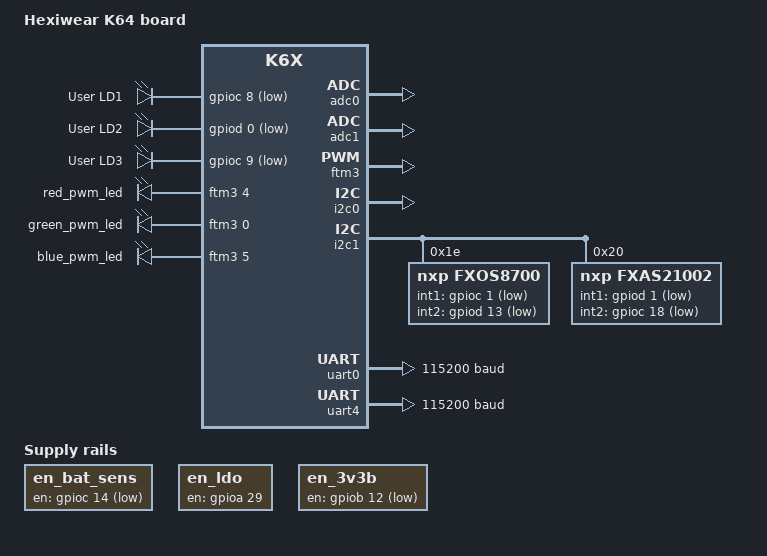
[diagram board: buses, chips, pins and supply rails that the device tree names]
/* SPDX-License-Identifier: Apache-2.0 */

/dts-v1/;

#include <nxp/nxp_k6x.dtsi>
#include <zephyr/dt-bindings/pwm/pwm.h>
#include "hexiwear_mk64f12-pinctrl.dtsi"

/ {
	model = "Hexiwear K64 board";
	compatible = "nxp,hexiwear", "nxp,k64f", "nxp,k6x";

	aliases {
		led0 = &green_led;
		led1 = &blue_led;
		led2 = &red_led;
		pwm-led0 = &green_pwm_led;
		red-pwm-led = &red_pwm_led;
		green-pwm-led = &green_pwm_led;
		blue-pwm-led = &blue_pwm_led;
		magn0 = &fxos8700;
		accel0 = &fxos8700;
	};

	chosen {
		zephyr,sram = &sram0;
		zephyr,flash = &flash0;
		zephyr,code-partition = &slot0_partition;
		zephyr,console = &uart0;
		zephyr,shell-uart = &uart0;
		zephyr,bt-hci = &bt_hci_uart;
	};

	leds {
		compatible = "gpio-leds";
		red_led: led_0 {
			gpios = <&gpioc 8 GPIO_ACTIVE_LOW>;
			label = "User LD1";
		};
		green_led: led_1 {
			gpios = <&gpiod 0 GPIO_ACTIVE_LOW>;
			label = "User LD2";
		};
		blue_led: led_2 {
			gpios = <&gpioc 9 GPIO_ACTIVE_LOW>;
			label = "User LD3";
		};
	};

	pwmleds {
		compatible = "pwm-leds";

		red_pwm_led: red_pwm_led {
			pwms = <&ftm3 4 15625000 PWM_POLARITY_INVERTED>;
		};
		green_pwm_led: green_pwm_led {
			pwms = <&ftm3 0 15625000 PWM_POLARITY_INVERTED>;
		};
		blue_pwm_led: blue_pwm_led {
			pwms = <&ftm3 5 15625000 PWM_POLARITY_INVERTED>;
		};
	};

	en_bat_sens: enable-battery-sense {
		compatible = "regulator-fixed";
		regulator-name = "en_bat_sens";
		enable-gpios = <&gpioc 14 GPIO_ACTIVE_LOW>;
		regulator-boot-on;
	};

	en_ldo: enable-ldo {
		compatible = "regulator-fixed";
		regulator-name = "en_ldo";
		enable-gpios = <&gpioa 29 GPIO_ACTIVE_HIGH>;
		regulator-boot-on;
	};

	en_3v3b: enable-3v3b {
		compatible = "regulator-fixed";
		regulator-name = "en_3v3b";
		enable-gpios = <&gpiob 12 GPIO_ACTIVE_LOW>;
		regulator-boot-on;
	};
};

&sim {
	pllfll-select = <KINETIS_SIM_PLLFLLSEL_MCGPLLCLK>;
	er32k-select = <KINETIS_SIM_ER32KSEL_RTC>;
};

&cpu0 {
	clock-frequency = <120000000>;
};

&adc0 {
	status = "okay";
};

&adc1 {
	status = "okay";
};

&ftm3 {
	status = "okay";
	compatible = "nxp,kinetis-ftm-pwm";
	#pwm-cells = <3>;
	pinctrl-0 = <&ftm3_default>;
	pinctrl-names = "default";
	clock-source = "fixed";
};

&i2c0 {
	status = "okay";
	pinctrl-0 = <&i2c0_default>;
	pinctrl-names = "default";

	max30101@57 {
		status = "disabled";
		compatible = "maxim,max30101";
		reg = <0x57>;
	};
};

&i2c1 {
	status = "okay";
	pinctrl-0 = <&i2c1_default>;
	pinctrl-names = "default";

	fxos8700: fxos8700@1e {
		compatible = "nxp,fxos8700";
		reg = <0x1e>;
		int1-gpios = <&gpioc 1 GPIO_ACTIVE_LOW>;
		int2-gpios = <&gpiod 13 GPIO_ACTIVE_LOW>;
	};

	fxas21002@20 {
		compatible = "nxp,fxas21002";
		reg = <0x20>;
		int1-gpios = <&gpiod 1 GPIO_ACTIVE_LOW>;
		int2-gpios = <&gpioc 18 GPIO_ACTIVE_LOW>;
	};
};

&uart0 {
	status = "okay";
	current-speed = <115200>;
	pinctrl-0 = <&uart0_default>;
	pinctrl-names = "default";
};

&uart4 {
	status = "okay";
	current-speed = <115200>;
	pinctrl-0 = <&uart4_default>;
	pinctrl-names = "default";

	bt_hci_uart: bt_hci_uart {
		compatible = "zephyr,bt-hci-uart";
		status = "okay";
	};
};

&gpioa {
	status = "okay";
};

&gpiob {
	status = "okay";
};

&gpioc {
	status = "okay";
};

&gpiod {
	status = "okay";
};

&gpioe {
	status = "okay";
};

&flash0 {

	partitions {
		compatible = "fixed-partitions";
		#address-cells = <1>;
		#size-cells = <1>;
		boot_partition: partition@0 {
			label = "mcuboot";
			reg = <0x00000000 DT_SIZE_K(64)>;
			read-only;
		};
		/* The MCUBoot swap-move algorithm uses the last 2 sectors
		 * of the primary slot0 for swap status and move.
		 */
		slot0_partition: partition@10000 {
			label = "image-0";
			reg = <0x00010000 (DT_SIZE_K(416) + DT_SIZE_K(8))>;
		};
		slot1_partition: partition@7a000 {
			label = "image-1";
			reg = <0x0007a000 DT_SIZE_K(416)>;
		};
		storage_partition: partition@e2000 {
			label = "storage";
			reg = <0x000e2000 DT_SIZE_K(120)>;
		};
	};
};
